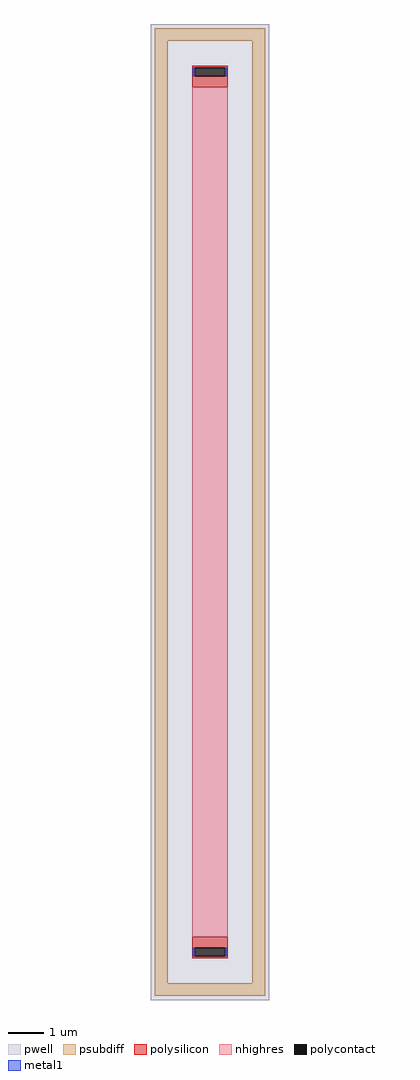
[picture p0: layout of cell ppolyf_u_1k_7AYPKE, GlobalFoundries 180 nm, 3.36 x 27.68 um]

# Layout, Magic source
magic
tech gf180mcuD
magscale 1 10
<< pwell >>
rect -336 -2768 336 2768
<< psubdiff >>
rect -312 2672 312 2744
rect -312 -2672 -240 2672
rect 240 -2672 312 2672
rect -312 -2744 312 -2672
<< polysilicon >>
rect -100 2519 100 2532
rect -100 2473 -87 2519
rect 87 2473 100 2519
rect -100 2410 100 2473
rect -100 -2473 100 -2410
rect -100 -2519 -87 -2473
rect 87 -2519 100 -2473
rect -100 -2532 100 -2519
<< polycontact >>
rect -87 2473 87 2519
rect -87 -2519 87 -2473
<< nhighres >>
rect -100 -2410 100 2410
<< metal1 >>
rect -98 2473 -87 2519
rect 87 2473 98 2519
rect -98 -2519 -87 -2473
rect 87 -2519 98 -2473
<< properties >>
string FIXED_BBOX -276 -2708 276 2708
string gencell ppolyf_u_1k
string library gf180mcu
string parameters w 1.0 l 24.1 m 1 nx 1 wmin 1.000 lmin 1.000 class resistor rho 1000 val 24.1k dummy 0 dw 0.0 term 0.0 sterm 0.0 caplen 0.4 snake 0 glc 0 grc 0 gtc 0 gbc 0 roverlap 0 endcov 100 full_metal 0 compatible {ppolyf_u_1k ppolyf_u_1k_6p0}
<< end >>
